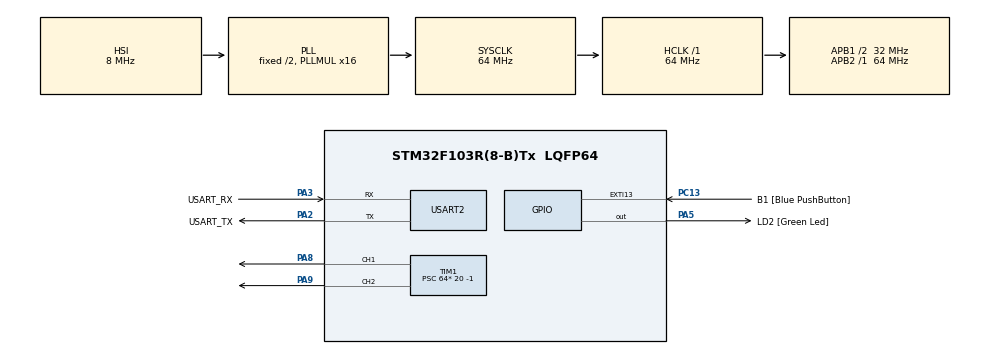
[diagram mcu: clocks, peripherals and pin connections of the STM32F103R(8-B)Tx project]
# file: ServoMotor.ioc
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Mcu.Family=STM32F1
Mcu.Name=STM32F103R(8-B)Tx
Mcu.Package=LQFP64
NVIC.EXTI15_10_IRQn=true\:0\:0\:false\:false\:true\:true\:true\:true
NVIC.PriorityGroup=NVIC_PRIORITYGROUP_4
NVIC.USART2_IRQn=true\:0\:0\:false\:false\:true\:true\:true\:true
PA13.GPIO_Label=TMS
PA13.Mode=Serial_Wire
PA13.Signal=SYS_JTMS-SWDIO
PA14.GPIO_Label=TCK
PA14.Mode=Serial_Wire
PA14.Signal=SYS_JTCK-SWCLK
PA2.GPIO_Label=USART_TX
PA2.GPIO_Mode=GPIO_MODE_AF_PP
PA2.GPIO_PuPd=GPIO_NOPULL
PA2.GPIO_Speed=GPIO_SPEED_FREQ_LOW
PA2.Mode=Asynchronous
PA2.Signal=USART2_TX
PA3.GPIO_Label=USART_RX
PA3.GPIO_Mode=GPIO_MODE_AF_PP
PA3.GPIO_PuPd=GPIO_NOPULL
PA3.GPIO_Speed=GPIO_SPEED_FREQ_LOW
PA3.Mode=Asynchronous
PA3.Signal=USART2_RX
PA5.GPIO_Label=LD2 [Green Led]
PA5.GPIO_ModeDefaultOutputPP=GPIO_MODE_OUTPUT_PP
PA5.GPIO_PuPd=GPIO_NOPULL
PA5.GPIO_Speed=GPIO_SPEED_FREQ_LOW
PA5.Signal=GPIO_Output
PA8.Signal=S_TIM1_CH1
PA9.Signal=S_TIM1_CH2
PB3.GPIO_Label=SWO
PB3.Signal=SYS_JTDO-TRACESWO
PC13-TAMPER-RTC.GPIO_Label=B1 [Blue PushButton]
PC13-TAMPER-RTC.GPIO_PuPd=GPIO_NOPULL
PC13-TAMPER-RTC.Signal=GPXTI13
PC14-OSC32_IN.Signal=RCC_OSC32_IN
PC15-OSC32_OUT.Signal=RCC_OSC32_OUT
PD0-OSC_IN.Signal=RCC_OSC_IN
PD1-OSC_OUT.Signal=RCC_OSC_OUT
ProjectManager.HeapSize=0x200
ProjectManager.StackSize=0x400
ProjectManager.TargetToolchain=STM32CubeIDE
RCC.AHBFreq_Value=64000000
RCC.APB1CLKDivider=RCC_HCLK_DIV2
RCC.APB1Freq_Value=32000000
RCC.APB1TimFreq_Value=64000000
RCC.APB2Freq_Value=64000000
RCC.APB2TimFreq_Value=64000000
RCC.HCLKFreq_Value=64000000
RCC.PLLMUL=RCC_PLL_MUL16
RCC.RTCClockSelection=RCC_RTCCLKSOURCE_LSE
RCC.SYSCLKFreq_VALUE=64000000
RCC.SYSCLKSource=RCC_SYSCLKSOURCE_PLLCLK
RCC.USBFreq_Value=64000000
SH.S_TIM1_CH1.0=TIM1_CH1,PWM Generation1 CH1
SH.S_TIM1_CH2.0=TIM1_CH2,PWM Generation2 CH2
TIM1.Channel-PWM\ Generation1\ CH1=TIM_CHANNEL_1
TIM1.Channel-PWM\ Generation2\ CH2=TIM_CHANNEL_2
TIM1.Period=999
TIM1.Prescaler=64* 20 -1
TIM1.Pulse-PWM\ Generation1\ CH1=1000
TIM2.Period=999
TIM2.Prescaler=64*20-1
USART2.VirtualMode=VM_ASYNC
VP_TIM1_VS_ClockSourceINT.Mode=Internal
VP_TIM2_VS_ClockSourceINT.Mode=Internal
board=NUCLEO-F103RB

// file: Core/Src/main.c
/* USER CODE BEGIN Header */
/**
 ******************************************************************************
 * @file           : main.c
 * @brief          : Main program body
 ******************************************************************************
 * @attention
 *
 * Copyright (c) 2025 STMicroelectronics.
 * All rights reserved.
 *
 * This software is licensed under terms that can be found in the LICENSE file
 * in the root directory of this software component.
 * If no LICENSE file comes with this software, it is provided AS-IS.
 *
 ******************************************************************************
 */
/* USER CODE END Header */
#include "main.h"

/* USER CODE BEGIN PD */
#define MAX 125  // 2.5ms pulse width (최대 각도)
#define MIN 25   // 0.5ms pulse width (최소 각도)
#define CENTER 75 // 1.5ms pulse width (중앙 각도)
#define STEP 1
/* USER CODE END PD */

TIM_HandleTypeDef htim1;
TIM_HandleTypeDef htim2;

UART_HandleTypeDef huart2;

/* USER CODE BEGIN PV */
uint8_t ch;
uint8_t pos_pan = 75;
uint8_t pos_tilt = 75;
/* USER CODE END PV */

void SystemClock_Config(void);
static void MX_GPIO_Init(void);
static void MX_USART2_UART_Init(void);
static void MX_TIM1_Init(void);
static void MX_TIM2_Init(void);

/* USER CODE BEGIN 0 */
void SG90_SetAngle(uint8_t angle) {
	// angle: 0 ~ 180도
	// CCR: 50(1ms) ~ 100(2ms)
	uint32_t ccr_val = 50 + ((angle * (100 - 50)) / 180);
	__HAL_TIM_SET_COMPARE(&htim1, TIM_CHANNEL_1, ccr_val);
}

#ifdef __GNUC__
/* With GCC, small printf (option LD Linker->Libraries->Small printf
   set to 'Yes') calls __io_putchar() */
#define PUTCHAR_PROTOTYPE int __io_putchar(int ch)
#else
#define PUTCHAR_PROTOTYPE int fputc(int ch, FILE *f)
#endif /* __GNUC__ */

PUTCHAR_PROTOTYPE
{
  /* Place your implementation of fputc here */
  /* e.g. write a character to the USART1 and Loop until the end of transmission */
  if (ch == '\n')
    HAL_UART_Transmit (&huart2, (uint8_t*) "\r", 1, 0xFFFF);
  HAL_UART_Transmit (&huart2, (uint8_t*) &ch, 1, 0xFFFF);

  return ch;
}
/* USER CODE END 0 */

int main(void)
{

  /* MCU Configuration--------------------------------------------------------*/

  /* Reset of all peripherals, Initializes the Flash interface and the Systick. */
  HAL_Init();

  /* Configure the system clock */
  SystemClock_Config();

  /* Initialize all configured peripherals */
  MX_GPIO_Init();
  MX_USART2_UART_Init();
  MX_TIM1_Init();
  MX_TIM2_Init();
  /* USER CODE BEGIN 2 */

	HAL_TIM_PWM_Start(&htim1, TIM_CHANNEL_1);
	HAL_TIM_PWM_Start(&htim2, TIM_CHANNEL_2);
	__HAL_TIM_SET_COMPARE(&htim1, TIM_CHANNEL_1, pos_tilt);
	__HAL_TIM_SET_COMPARE(&htim2, TIM_CHANNEL_2, pos_pan);
	printf("Servo Control Ready\r\n");
	printf("Commands: w(up), s(down), a(left), d(right), i(center)\r\n");

	//int count = 0;
  /* USER CODE END 2 */

  /* Infinite loop */
  /* USER CODE BEGIN WHILE */
	while (1) {
//	  SG90_SetAngle(0);    // 0도
//	  HAL_Delay(1000);
//	  SG90_SetAngle(90);   // 90도
//	  HAL_Delay(1000);
//
//	  SG90_SetAngle(180);  // 180도
//	  HAL_Delay(1000);

//		if (count <= 5) {
//			for (int i = 0; i < 101; i++) {
//				__HAL_TIM_SET_COMPARE(&htim1, TIM_CHANNEL_1, i);
//				//SG90_SetAngle(i);
//				HAL_Delay(10);
//
//			}
//			count++;
//
//		} else {
//			break;
//		}
		if(HAL_UART_Receive(&huart2, &ch, sizeof(ch), 10) == HAL_OK){
			if(ch=='w'){
				printf("up\n\r");
				if(pos_tilt + STEP <= MAX){
					pos_tilt = pos_tilt + STEP;

				}
				else{
					pos_tilt = MAX;
				}

			}
			else if(ch == 's'){
				printf("Down \n");
				if(pos_tilt + STEP >= MIN){
					pos_tilt = pos_tilt - STEP;

				}
				else{
					pos_tilt = MIN;
				}
			}
		    else if(ch == 'a'){
		        printf("Left\r\n");
		        if(pos_pan + STEP <= MAX)
		          pos_pan = pos_pan + STEP;
		        else
		          pos_pan = MAX;
		      }
		      else if(ch == 'd'){
		        printf("Right\r\n");
		        if(pos_pan - STEP >= MIN)
		          pos_pan = pos_pan - STEP;
		        else
		          pos_pan = MIN;
		      }
		      else if(ch == 'i'){
		        printf("Center\r\n");
		        pos_pan = CENTER;
		        pos_tilt = CENTER;
		      }

			__HAL_TIM_SET_COMPARE(&htim1, TIM_CHANNEL_1, pos_tilt);
			__HAL_TIM_SET_COMPARE(&htim2, TIM_CHANNEL_2, pos_pan);
			//__HAL_TIM_SET_COMPARE(&htim2, TIM_CHANNEL_1, pos_pan);

			printf("Pan: %d, Tilt: %d\r\n", pos_pan, pos_tilt);
			HAL_Delay(50);
		}

    /* USER CODE END WHILE */

	}
}

void SystemClock_Config(void)
{
  RCC_OscInitTypeDef RCC_OscInitStruct = {0};
  RCC_ClkInitTypeDef RCC_ClkInitStruct = {0};

  /** Initializes the RCC Oscillators according to the specified parameters
  * in the RCC_OscInitTypeDef structure.
  */
  RCC_OscInitStruct.OscillatorType = RCC_OSCILLATORTYPE_HSI;
  RCC_OscInitStruct.HSIState = RCC_HSI_ON;
  RCC_OscInitStruct.HSICalibrationValue = RCC_HSICALIBRATION_DEFAULT;
  RCC_OscInitStruct.PLL.PLLState = RCC_PLL_ON;
  RCC_OscInitStruct.PLL.PLLSource = RCC_PLLSOURCE_HSI_DIV2;
  RCC_OscInitStruct.PLL.PLLMUL = RCC_PLL_MUL16;
  if (HAL_RCC_OscConfig(&RCC_OscInitStruct) != HAL_OK)
  {
    Error_Handler();
  }

  /** Initializes the CPU, AHB and APB buses clocks
  */
  RCC_ClkInitStruct.ClockType = RCC_CLOCKTYPE_HCLK|RCC_CLOCKTYPE_SYSCLK
                              |RCC_CLOCKTYPE_PCLK1|RCC_CLOCKTYPE_PCLK2;
  RCC_ClkInitStruct.SYSCLKSource = RCC_SYSCLKSOURCE_PLLCLK;
  RCC_ClkInitStruct.AHBCLKDivider = RCC_SYSCLK_DIV1;
  RCC_ClkInitStruct.APB1CLKDivider = RCC_HCLK_DIV2;
  RCC_ClkInitStruct.APB2CLKDivider = RCC_HCLK_DIV1;

  if (HAL_RCC_ClockConfig(&RCC_ClkInitStruct, FLASH_LATENCY_2) != HAL_OK)
  {
    Error_Handler();
  }
}

static void MX_TIM1_Init(void)
{

  TIM_ClockConfigTypeDef sClockSourceConfig = {0};
  TIM_MasterConfigTypeDef sMasterConfig = {0};
  TIM_OC_InitTypeDef sConfigOC = {0};
  TIM_BreakDeadTimeConfigTypeDef sBreakDeadTimeConfig = {0};

  htim1.Instance = TIM1;
  htim1.Init.Prescaler = 64* 20 -1;
  htim1.Init.CounterMode = TIM_COUNTERMODE_UP;
  htim1.Init.Period = 999;
  htim1.Init.ClockDivision = TIM_CLOCKDIVISION_DIV1;
  htim1.Init.RepetitionCounter = 0;
  htim1.Init.AutoReloadPreload = TIM_AUTORELOAD_PRELOAD_DISABLE;
  if (HAL_TIM_Base_Init(&htim1) != HAL_OK)
  {
    Error_Handler();
  }
  sClockSourceConfig.ClockSource = TIM_CLOCKSOURCE_INTERNAL;
  if (HAL_TIM_ConfigClockSource(&htim1, &sClockSourceConfig) != HAL_OK)
  {
    Error_Handler();
  }
  if (HAL_TIM_PWM_Init(&htim1) != HAL_OK)
  {
    Error_Handler();
  }
  sMasterConfig.MasterOutputTrigger = TIM_TRGO_RESET;
  sMasterConfig.MasterSlaveMode = TIM_MASTERSLAVEMODE_DISABLE;
  if (HAL_TIMEx_MasterConfigSynchronization(&htim1, &sMasterConfig) != HAL_OK)
  {
    Error_Handler();
  }
  sConfigOC.OCMode = TIM_OCMODE_PWM1;
  sConfigOC.Pulse = 1000;
  sConfigOC.OCPolarity = TIM_OCPOLARITY_HIGH;
  sConfigOC.OCNPolarity = TIM_OCNPOLARITY_HIGH;
  sConfigOC.OCFastMode = TIM_OCFAST_DISABLE;
  sConfigOC.OCIdleState = TIM_OCIDLESTATE_RESET;
  sConfigOC.OCNIdleState = TIM_OCNIDLESTATE_RESET;
  if (HAL_TIM_PWM_ConfigChannel(&htim1, &sConfigOC, TIM_CHANNEL_1) != HAL_OK)
  {
    Error_Handler();
  }
  sConfigOC.Pulse = 0;
  if (HAL_TIM_PWM_ConfigChannel(&htim1, &sConfigOC, TIM_CHANNEL_2) != HAL_OK)
  {
    Error_Handler();
  }
  sBreakDeadTimeConfig.OffStateRunMode = TIM_OSSR_DISABLE;
  sBreakDeadTimeConfig.OffStateIDLEMode = TIM_OSSI_DISABLE;
  sBreakDeadTimeConfig.LockLevel = TIM_LOCKLEVEL_OFF;
  sBreakDeadTimeConfig.DeadTime = 0;
  sBreakDeadTimeConfig.BreakState = TIM_BREAK_DISABLE;
  sBreakDeadTimeConfig.BreakPolarity = TIM_BREAKPOLARITY_HIGH;
  sBreakDeadTimeConfig.AutomaticOutput = TIM_AUTOMATICOUTPUT_DISABLE;
  if (HAL_TIMEx_ConfigBreakDeadTime(&htim1, &sBreakDeadTimeConfig) != HAL_OK)
  {
    Error_Handler();
  }
  HAL_TIM_MspPostInit(&htim1);

}

static void MX_TIM2_Init(void)
{

  TIM_ClockConfigTypeDef sClockSourceConfig = {0};
  TIM_MasterConfigTypeDef sMasterConfig = {0};

  htim2.Instance = TIM2;
  htim2.Init.Prescaler = 64*20-1;
  htim2.Init.CounterMode = TIM_COUNTERMODE_UP;
  htim2.Init.Period = 999;
  htim2.Init.ClockDivision = TIM_CLOCKDIVISION_DIV1;
  htim2.Init.AutoReloadPreload = TIM_AUTORELOAD_PRELOAD_DISABLE;
  if (HAL_TIM_Base_Init(&htim2) != HAL_OK)
  {
    Error_Handler();
  }
  sClockSourceConfig.ClockSource = TIM_CLOCKSOURCE_INTERNAL;
  if (HAL_TIM_ConfigClockSource(&htim2, &sClockSourceConfig) != HAL_OK)
  {
    Error_Handler();
  }
  sMasterConfig.MasterOutputTrigger = TIM_TRGO_RESET;
  sMasterConfig.MasterSlaveMode = TIM_MASTERSLAVEMODE_DISABLE;
  if (HAL_TIMEx_MasterConfigSynchronization(&htim2, &sMasterConfig) != HAL_OK)
  {
    Error_Handler();
  }

}

static void MX_USART2_UART_Init(void)
{

  huart2.Instance = USART2;
  huart2.Init.BaudRate = 115200;
  huart2.Init.WordLength = UART_WORDLENGTH_8B;
  huart2.Init.StopBits = UART_STOPBITS_1;
  huart2.Init.Parity = UART_PARITY_NONE;
  huart2.Init.Mode = UART_MODE_TX_RX;
  huart2.Init.HwFlowCtl = UART_HWCONTROL_NONE;
  huart2.Init.OverSampling = UART_OVERSAMPLING_16;
  if (HAL_UART_Init(&huart2) != HAL_OK)
  {
    Error_Handler();
  }

}

static void MX_GPIO_Init(void)
{
  GPIO_InitTypeDef GPIO_InitStruct = {0};

  /* GPIO Ports Clock Enable */
  __HAL_RCC_GPIOC_CLK_ENABLE();
  __HAL_RCC_GPIOD_CLK_ENABLE();
  __HAL_RCC_GPIOA_CLK_ENABLE();
  __HAL_RCC_GPIOB_CLK_ENABLE();

  /*Configure GPIO pin Output Level */
  HAL_GPIO_WritePin(LD2_GPIO_Port, LD2_Pin, GPIO_PIN_RESET);

  /*Configure GPIO pin : B1_Pin */
  GPIO_InitStruct.Pin = B1_Pin;
  GPIO_InitStruct.Mode = GPIO_MODE_IT_RISING;
  GPIO_InitStruct.Pull = GPIO_NOPULL;
  HAL_GPIO_Init(B1_GPIO_Port, &GPIO_InitStruct);

  /*Configure GPIO pin : LD2_Pin */
  GPIO_InitStruct.Pin = LD2_Pin;
  GPIO_InitStruct.Mode = GPIO_MODE_OUTPUT_PP;
  GPIO_InitStruct.Pull = GPIO_NOPULL;
  GPIO_InitStruct.Speed = GPIO_SPEED_FREQ_LOW;
  HAL_GPIO_Init(LD2_GPIO_Port, &GPIO_InitStruct);

  /* EXTI interrupt init*/
  HAL_NVIC_SetPriority(EXTI15_10_IRQn, 0, 0);
  HAL_NVIC_EnableIRQ(EXTI15_10_IRQn);

}

void Error_Handler(void)
{
	__disable_irq();
	while (1) {
	}
}
